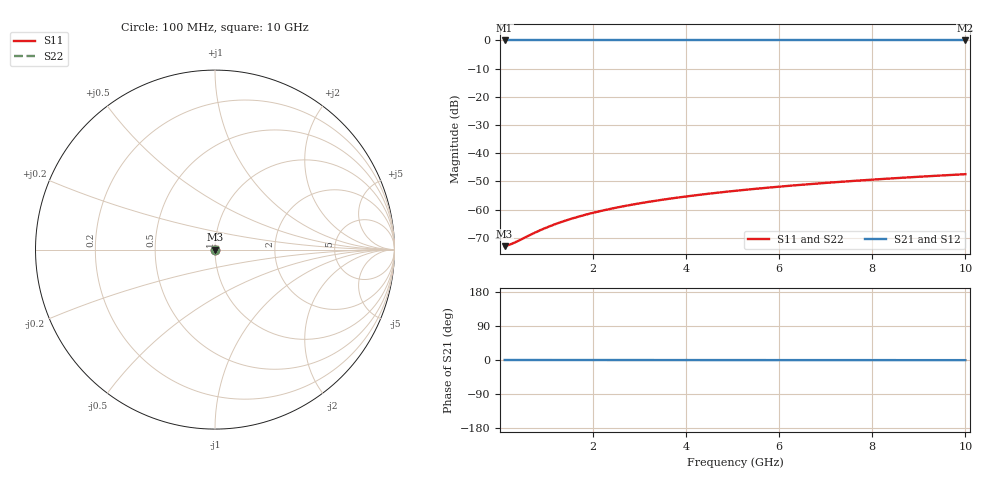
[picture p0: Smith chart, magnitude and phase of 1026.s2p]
# Hz S RI R 50.00
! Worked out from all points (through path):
!   100 points, 100 MHz to 10 GHz, reference 50 ohm
!   highest |S21| = 0.00 dB at 100 MHz (marker M1); lowest = 0.0 dB at 10 GHz (marker M2)
!   lowest |S11| = -73.0 dB at 100 MHz (marker M3), VSWR 1.00, Z = 50 + j0.00423 ohm
!   |S11| at or under -10 dB: start of sweep to end of sweep
!   |S22| runs from -73.0 to -47.4 dB; largest |S21 - S12| = 1e-16
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1e8  0.000221 4.23e-05  0.9998 -6.54e-05  0.9998 -6.54e-05  0.000221 4.23e-05
2e8  0.000222 8.46e-05  0.9998 -0.000131  0.9998 -0.000131  0.000222 8.46e-05
3e8  0.000223 0.000127  0.9998 -0.000196  0.9998 -0.000196  0.000223 0.000127
8e8  0.000227 0.000338  0.9998 -0.000523  0.9998 -0.000523  0.000227 0.000338
9e8  0.000227 0.000381  0.9998 -0.000588  0.9998 -0.000588  0.000227 0.000381
1.1e9  0.000228 0.000465  0.9998 -0.000719  0.9998 -0.000719  0.000228 0.000465
1.4e9  0.00023 0.000592  0.9998 -0.000915  0.9998 -0.000915  0.00023 0.000592
1.6e9  0.000231 0.000677  0.9998 -0.00105  0.9998 -0.00105  0.000231 0.000677
1.8e9  0.000231 0.000762  0.9998 -0.00118  0.9998 -0.00118  0.000231 0.000762
2.1e9  0.000233 0.000889  0.9998 -0.00137  0.9998 -0.00137  0.000233 0.000889
2.5e9  0.000234 0.00106  0.9998 -0.00163  0.9998 -0.00163  0.000234 0.00106
2.9e9  0.000236 0.00123  0.9998 -0.0019  0.9998 -0.0019  0.000236 0.00123
3.4e9  0.000238 0.00144  0.9998 -0.00222  0.9998 -0.00222  0.000238 0.00144
3.8e9  0.000239 0.00161  0.9998 -0.00249  0.9998 -0.00249  0.000239 0.00161
4.2e9  0.000241 0.00178  0.9998 -0.00275  0.9998 -0.00275  0.000241 0.00178
4.6e9  0.000243 0.00195  0.9998 -0.00301  0.9998 -0.00301  0.000243 0.00195
5.1e9  0.000245 0.00216  0.9998 -0.00334  0.9998 -0.00334  0.000245 0.00216
5.9e9  0.000249 0.0025  0.9997 -0.00386  0.9997 -0.00386  0.000249 0.0025
6.7e9  0.000253 0.00284  0.9997 -0.00439  0.9997 -0.00439  0.000253 0.00284
7.5e9  0.000257 0.00318  0.9997 -0.00491  0.9997 -0.00491  0.000257 0.00318
8.4e9  0.000263 0.00356  0.9997 -0.0055  0.9997 -0.0055  0.000263 0.00356
1e10  0.000274 0.00424  0.9997 -0.00655  0.9997 -0.00655  0.000274 0.00424
